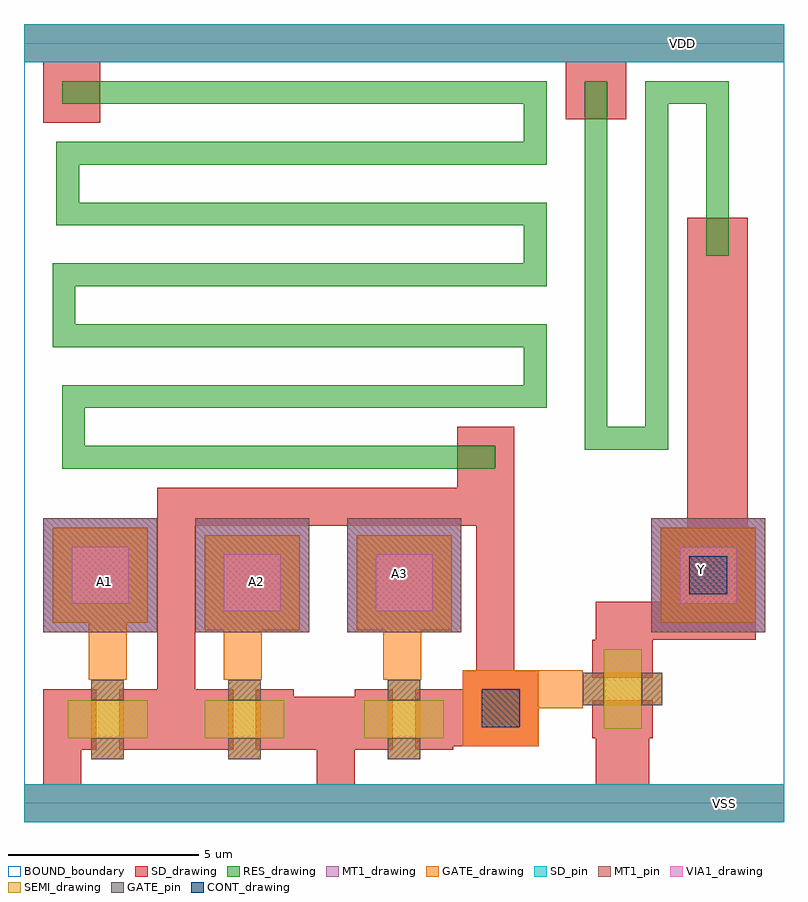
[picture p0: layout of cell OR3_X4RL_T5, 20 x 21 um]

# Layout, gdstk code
from math import pi, radians
import gdstk
lib = gdstk.Library(unit=1e-6, precision=1e-09)
def R(c, l, rs):  # rectangles x0, y0, x1, y1
    for r in rs: c.add(gdstk.rectangle(r[:2], r[2:], *l))
def A(c, l, x, y, w, h, nx, ny, dx, dy):  # array of equal rectangles
    R(c, l, [(x+i*dx, y+j*dy, x+i*dx+w, y+j*dy+h) for i in range(nx) for j in range(ny)])
def P(c, l, *ps):  # polygons
    for p in ps: c.add(gdstk.Polygon(p, *l))
RES_drawing = (1, 0)
SEMI_drawing = (3, 0)
SD_drawing = (10, 0)
SD_pin = (10, 3)
GATE_drawing = (11, 0)
GATE_pin = (11, 3)
MT1_drawing = (20, 0)
MT1_pin = (20, 3)
CONT_drawing = (30, 0)
VIA1_drawing = (41, 0)
BOUND_boundary = (150, 5)

nch_cdns_772545134140 = lib.new_cell('nch_CDNS_772545134140')
R(nch_cdns_772545134140, SEMI_drawing, [(-1.05,-0.5,1.05,0.5)])
R(nch_cdns_772545134140, SD_drawing, [(-1.3,-0.8,-0.3,0.8), (0.3,-0.8,1.3,0.8)])
R(nch_cdns_772545134140, GATE_drawing, [(-0.425,-1.05,0.425,1.05)])
R(nch_cdns_772545134140, GATE_pin, [(-0.425,-1.05,0.425,-0.5), (-0.425,0.5,0.425,1.05)])

gate_mt1_cdns_7725451341 = lib.new_cell('GATE_MT1_CDNS_772545134140')
R(gate_mt1_cdns_7725451341, GATE_drawing, [(-1.25,-1.25,1.25,1.25)])
R(gate_mt1_cdns_7725451341, MT1_drawing, [(-1.25,-1.25,1.25,1.25)])
R(gate_mt1_cdns_7725451341, VIA1_drawing, [(-0.75,-0.75,0.75,0.75)])

sd_gate_cdns_77254513414 = lib.new_cell('SD_GATE_CDNS_772545134141')
R(sd_gate_cdns_77254513414, SD_drawing, [(-1,-1,1,1)])
R(sd_gate_cdns_77254513414, GATE_drawing, [(-1,-1,1,1)])
R(sd_gate_cdns_77254513414, CONT_drawing, [(-0.5,-0.5,0.5,0.5)])

c_sd_gate_cdns_77254513414 = lib.new_cell('SD_GATE_CDNS_772545134142')
R(c_sd_gate_cdns_77254513414, SD_drawing, [(-1.25,-1.25,1.25,1.25)])
R(c_sd_gate_cdns_77254513414, GATE_drawing, [(-1.25,-1.25,1.25,1.25)])
R(c_sd_gate_cdns_77254513414, CONT_drawing, [(-0.5,-0.5,0.5,0.5)])

gate_mt1_stack_cdns_7725 = lib.new_cell('GATE_MT1_STACK_CDNS_772545134143')
R(gate_mt1_stack_cdns_7725, GATE_drawing, [(-1.25,-1.25,1.25,1.25)])
R(gate_mt1_stack_cdns_7725, MT1_drawing, [(-1.25,-1.25,1.25,1.25)])
R(gate_mt1_stack_cdns_7725, VIA1_drawing, [(-0.75,-0.75,0.75,0.75)])

or3_x4rl_t5 = lib.new_cell('OR3_X4RL_T5')
R(or3_x4rl_t5, SD_drawing, [(0,-0.5,20,0.5), (0.5,0.5,1.5,3), (7.7,0.5,8.7,2.8), (11.3,1.5,13.5,3), (15.05,4.3,19.25,5.3), (11.4,8.3,12.9,9.9), (17.45,13.9,19.05,15.4), (0.5,17.9,2,19.5), (14.25,18,15.85,19.5), (0,19.5,20,20.5)])
R(or3_x4rl_t5, SD_pin, [(0,-0.5,20,0.5), (0,19.5,20,20.5)])
P(or3_x4rl_t5, GATE_drawing, [(14.6,3.5),(14.6,2.5),(14.7,2.5),(14.7,2.625),(14.75,2.625),(14.75,3.375),(14.7,3.375),(14.7,3.5)],
  [(2.7,3.35),(1.7,3.35),(1.7,3.25),(1.825,3.25),(1.825,3.2),(2.575,3.2),(2.575,3.25),(2.7,3.25)],
  [(6.25,3.35),(5.25,3.35),(5.25,3.25),(5.425,3.25),(5.425,3.2),(6.175,3.2),(6.175,3.25),(6.25,3.25)],
  [(10.45,3.35),(9.45,3.35),(9.45,3.25),(9.625,3.25),(9.625,3.2),(10.375,3.2),(10.375,3.25),(10.45,3.25)])
A(or3_x4rl_t5, MT1_drawing, 0.5, 4.5, 3, 3, 3, 1, 4, 0)
R(or3_x4rl_t5, MT1_drawing, [(16.5,4.5,19.5,7.5)])
A(or3_x4rl_t5, MT1_pin, 0.5, 4.5, 3, 3, 3, 1, 4, 0)
R(or3_x4rl_t5, MT1_pin, [(16.5,4.5,19.5,7.5)])
R(or3_x4rl_t5, BOUND_boundary, [(0,0,20,20)])
or3_x4rl_t5.add(gdstk.FlexPath([(2.2,3.35),(2.2,4.9)], 1, ends="flush", simple_path=True, layer=11, datatype=0))  # GATE_drawing
or3_x4rl_t5.add(gdstk.FlexPath([(5.75,3.35),(5.75,4.9)], 1, ends="flush", simple_path=True, layer=11, datatype=0))  # GATE_drawing
or3_x4rl_t5.add(gdstk.FlexPath([(9.95,3.35),(9.95,5.05)], 1, ends="flush", simple_path=True, layer=11, datatype=0))  # GATE_drawing
or3_x4rl_t5.add(gdstk.FlexPath([(13.9,3),(14.6,3)], 1, ends=(0.5, 0), simple_path=True, layer=11, datatype=0))  # GATE_drawing
or3_x4rl_t5.add(gdstk.FlexPath([(4,1.4),(4,7.8)], 1, ends=(0, 0.5), simple_path=True, layer=10, datatype=0))  # SD_drawing
or3_x4rl_t5.add(gdstk.FlexPath([(18.25,13.9),(18.25,7.1)], 1.6, ends="flush", simple_path=True, layer=10, datatype=0))  # SD_drawing
or3_x4rl_t5.add(gdstk.FlexPath([(12.4,7.8),(4,7.8)], 1, ends="extended", simple_path=True, layer=10, datatype=0))  # SD_drawing
or3_x4rl_t5.add(gdstk.FlexPath([(8.7,2.1),(7,2.1)], 1.4, ends="flush", simple_path=True, layer=10, datatype=0))  # SD_drawing
or3_x4rl_t5.add(gdstk.FlexPath([(12.4,7.8),(12.4,1.5)], 1, ends=(0.5, 0), simple_path=True, layer=10, datatype=0))  # SD_drawing
or3_x4rl_t5.add(gdstk.FlexPath([(4,7.8),(3.5,7.8)], 1, ends=(0.5, 0), simple_path=True, layer=10, datatype=0))  # SD_drawing
or3_x4rl_t5.add(gdstk.FlexPath([(15.75,1.7),(15.75,0.5)], 1.4, ends="flush", simple_path=True, layer=10, datatype=0))  # SD_drawing
or3_x4rl_t5.add(gdstk.FlexPath([(2,18.7),(13.45,18.7),(13.45,17.1),(1.15,17.1),(1.15,15.5),(13.45,15.5),(13.45,13.9),(1.05,13.9),(1.05,12.3),(13.45,12.3),(13.45,10.7),(1.3,10.7),(1.3,9.1),(11.4,9.1)], 0.6, ends=(1, 1), simple_path=True, layer=1, datatype=0))  # RES_drawing
or3_x4rl_t5.add(gdstk.FlexPath([(15.05,19),(15.05,9.6),(16.65,9.6),(16.65,18.7),(18.25,18.7),(18.25,14.4)], 0.6, ends="flush", simple_path=True, layer=1, datatype=0))  # RES_drawing
or3_x4rl_t5.add(gdstk.Reference(nch_cdns_772545134140, (10,2.2), x_reflection=True))
or3_x4rl_t5.add(gdstk.Reference(nch_cdns_772545134140, (15.75,3), rotation=pi/2))
or3_x4rl_t5.add(gdstk.Reference(nch_cdns_772545134140, (5.8,2.2)))
or3_x4rl_t5.add(gdstk.Reference(nch_cdns_772545134140, (2.2,2.2)))
or3_x4rl_t5.add(gdstk.Reference(gate_mt1_cdns_7725451341, (18,6)))
or3_x4rl_t5.add(gdstk.Reference(sd_gate_cdns_77254513414, (12.55,2.5)))
or3_x4rl_t5.add(gdstk.Reference(c_sd_gate_cdns_77254513414, (18,6)))
or3_x4rl_t5.add(gdstk.Reference(gate_mt1_stack_cdns_7725, (2,6)))
or3_x4rl_t5.add(gdstk.Reference(gate_mt1_stack_cdns_7725, (10,5.8)))
or3_x4rl_t5.add(gdstk.Reference(gate_mt1_stack_cdns_7725, (6,5.8)))
or3_x4rl_t5.add(gdstk.Label('VDD', (17.325,20), layer=10, texttype=3))
or3_x4rl_t5.add(gdstk.Label('VSS', (18.425,0), layer=10, texttype=3))
or3_x4rl_t5.add(gdstk.Label('Y', (17.825,6.15), layer=20, texttype=3))
or3_x4rl_t5.add(gdstk.Label('A1', (2.125,5.825), layer=20, texttype=3))
or3_x4rl_t5.add(gdstk.Label('A2', (6.125,5.825), layer=20, texttype=3))
or3_x4rl_t5.add(gdstk.Label('A3', (9.875,6.05), layer=20, texttype=3))

lib.write_gds('OR3_X4RL_T5.gds')
